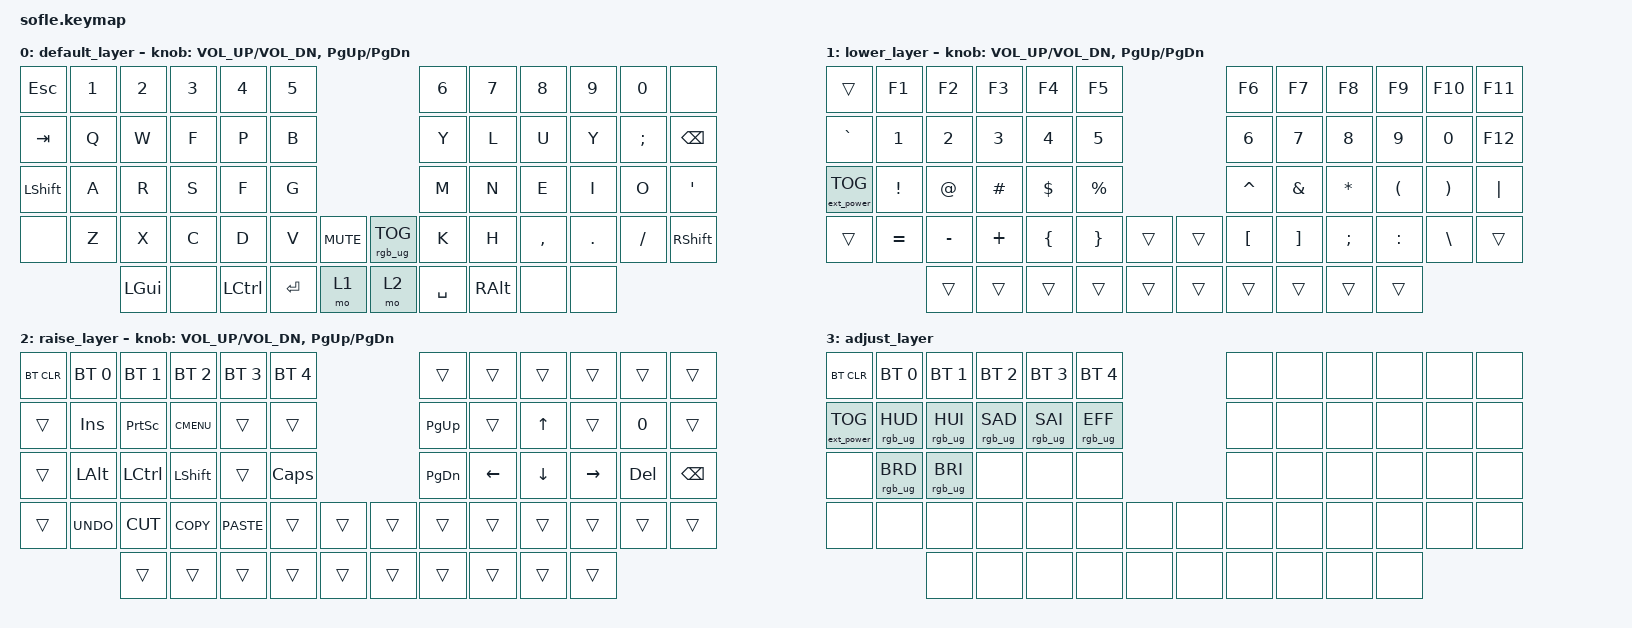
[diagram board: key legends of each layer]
/*
 * Copyright (c) 2020 The ZMK Contributors
 *
 * SPDX-License-Identifier: MIT
 */

#include <behaviors.dtsi>
#include <dt-bindings/zmk/bt.h>
#include <dt-bindings/zmk/ext_power.h>
#include <dt-bindings/zmk/keys.h>
#include <dt-bindings/zmk/rgb.h>

#define BASE 0
#define LOWER 1
#define RAISE 2
#define ADJUST 3

/ {
    // Activate ADJUST layer by pressing raise and lower

    conditional_layers {
        compatible = "zmk,conditional-layers";

        adjust_layer {
            if-layers = <LOWER RAISE>;
            then-layer = <ADJUST>;
        };
    };

    keymap {
        compatible = "zmk,keymap";

        default_layer {
            // ------------------------------------------------------------------------------------------------------------
            // |   `   |  1  |  2  |  3   |  4   |  5   |                   |  6   |  7    |  8    |  9   |   0   |       |
            // |  ESC  |  Q  |  W  |  E   |  R   |  T   |                   |  Y   |  U    |  I    |  O   |   P   | BKSPC |
            // |  TAB  |  A  |  S  |  D   |  F   |  G   |                   |  H   |  J    |  K    |  L   |   ;   |   '   |
            // | SHIFT |  Z  |  X  |  C   |  V   |  B   |  MUTE  |  |       |  N   |  M    |  ,    |  .   |   /   | SHIFT |
            //               | GUI | ALT  | CTRL | LOWER|  ENTER |  | SPACE | RAISE| CTRL  | ALT   | GUI  |

            bindings = <
&kp ESCAPE      &kp N1  &kp N2    &kp N3  &kp N4            &kp N5                                    &kp N6     &kp N7         &kp N8     &kp N9   &kp N0         &none
&kp TAB         &kp Q   &kp W     &kp F   &kp P             &kp B                                     &kp Y      &kp L          &kp U      &kp Y    &kp SEMICOLON  &kp BSPC
&kp LEFT_SHIFT  &kp A   &kp R     &kp S   &kp F             &kp G                                     &kp M      &kp N          &kp E      &kp I    &kp O          &kp SQT
&none           &kp Z   &kp X     &kp C   &kp D             &kp V      &kp C_MUTE    &rgb_ug RGB_TOG  &kp K      &kp H          &kp COMMA  &kp DOT  &kp FSLH       &kp RSHFT
                        &kp LGUI  &none   &kp LEFT_CONTROL  &kp ENTER  &mo 1         &mo 2            &kp SPACE  &kp RIGHT_ALT  &none      &none
            >;

            sensor-bindings = <&inc_dec_kp C_VOL_UP C_VOL_DN &inc_dec_kp PG_UP PG_DN>;
        };

        lower_layer {
            // TODO: Some binds are waiting for shifted keycode support.
            // ------------------------------------------------------------------------------------------------------------
            // |       |  F1 |  F2 |  F3  |  F4  |  F5  |                   |  F6  |  F7   |  F8   |  F9  |  F10  |  F11  |
            // |   `   |  1  |  2  |  3   |  4   |  5   |                   |  6   |  7    |  8    |  9   |   0   |  F12  |
            // |       |  !  |  @  |  #   |  $   |  %   |                   |  ^   |  &    |  *    |  (   |   )   |   |   |
            // |       |  =  |  -  |  +   |  {   |  }   |        |  |       |  [   |  ]    |  ;    |  :   |   \   |       |
            //               |     |      |      |      |        |  |       |      |       |       |      |

            bindings = <
&trans             &kp F1     &kp F2     &kp F3    &kp F4    &kp F5                       &kp F6     &kp F7    &kp F8     &kp F9     &kp F10   &kp F11
&kp GRAVE          &kp N1     &kp N2     &kp N3    &kp N4    &kp N5                       &kp N6     &kp N7    &kp N8     &kp N9     &kp N0    &kp F12
&ext_power EP_TOG  &kp EXCL   &kp AT     &kp HASH  &kp DLLR  &kp PRCNT                    &kp CARET  &kp AMPS  &kp ASTRK  &kp LPAR   &kp RPAR  &kp PIPE
&trans             &kp EQUAL  &kp MINUS  &kp PLUS  &kp LBRC  &kp RBRC   &trans    &trans  &kp LBKT   &kp RBKT  &kp SEMI   &kp COLON  &kp BSLH  &trans
                              &trans     &trans    &trans    &trans     &trans    &trans  &trans     &trans    &trans     &trans
            >;

            sensor-bindings = <&inc_dec_kp C_VOL_UP C_VOL_DN &inc_dec_kp PG_UP PG_DN>;
        };

        raise_layer {
            // ------------------------------------------------------------------------------------------------------------
            // | BTCLR | BT1  | BT2  |  BT3  |  BT4  |  BT5 |                |      |      |       |      |       |       |
            // |       | INS  | PSCR | GUI   |       |      |                | PGUP |      |   ^   |      |       |       |
            // |       | ALT  | CTRL | SHIFT |       | CAPS |                | PGDN |   <- |   v   |  ->  |  DEL  | BKSPC |
            // |       | UNDO | CUT  | COPY  | PASTE |      |      |  |      |      |      |       |      |       |       |
            //                |      |       |       |      |      |  |      |      |      |       |      |

            bindings = <
&bt BT_CLR  &bt BT_SEL 0  &bt BT_SEL 1  &bt BT_SEL 2  &bt BT_SEL 3  &bt BT_SEL 4                    &trans     &trans    &trans    &trans     &trans   &trans
&trans      &kp INS       &kp PSCRN     &kp K_CMENU   &trans        &trans                          &kp PG_UP  &trans    &kp UP    &trans     &kp N0   &trans
&trans      &kp LALT      &kp LCTRL     &kp LSHFT     &trans        &kp CLCK                        &kp PG_DN  &kp LEFT  &kp DOWN  &kp RIGHT  &kp DEL  &kp BSPC
&trans      &kp K_UNDO    &kp K_CUT     &kp K_COPY    &kp K_PASTE   &trans        &trans    &trans  &trans     &trans    &trans    &trans     &trans   &trans
                          &trans        &trans        &trans        &trans        &trans    &trans  &trans     &trans    &trans    &trans
            >;

            sensor-bindings = <&inc_dec_kp C_VOL_UP C_VOL_DN &inc_dec_kp PG_UP PG_DN>;
        };

        adjust_layer {
            // ----------------------------------------------------------------------------------------------------------------------------
            // | BTCLR  |  BT1    |  BT2    |   BT3   |   BT4   |   BT5   |                  |      |      |       |      |       |       |
            // | EXTPWR | RGB_HUD | RGB_HUI | RGB_SAD | RGB_SAI | RGB_EFF |                  |      |      |       |      |       |       |
            // |        | RGB_BRD | RGB_BRI |         |         |         |                  |      |      |       |      |       |       |
            // |        |         |         |         |         |         | RGB_TOG | |      |      |      |       |      |       |       |
            //                    |         |         |         |         |         | |      |      |      |       |      |

            bindings = <
&bt BT_CLR         &bt BT_SEL 0     &bt BT_SEL 1     &bt BT_SEL 2     &bt BT_SEL 3     &bt BT_SEL 4                     &none  &none  &none  &none  &none  &none
&ext_power EP_TOG  &rgb_ug RGB_HUD  &rgb_ug RGB_HUI  &rgb_ug RGB_SAD  &rgb_ug RGB_SAI  &rgb_ug RGB_EFF                  &none  &none  &none  &none  &none  &none
&none              &rgb_ug RGB_BRD  &rgb_ug RGB_BRI  &none            &none            &none                            &none  &none  &none  &none  &none  &none
&none              &none            &none            &none            &none            &none            &none    &none  &none  &none  &none  &none  &none  &none
                                    &none            &none            &none            &none            &none    &none  &none  &none  &none  &none
            >;
        };

        extra1 { status = "reserved"; };

        extra2 { status = "reserved"; };

        extra3 { status = "reserved"; };

        extra4 { status = "reserved"; };
    };
};
